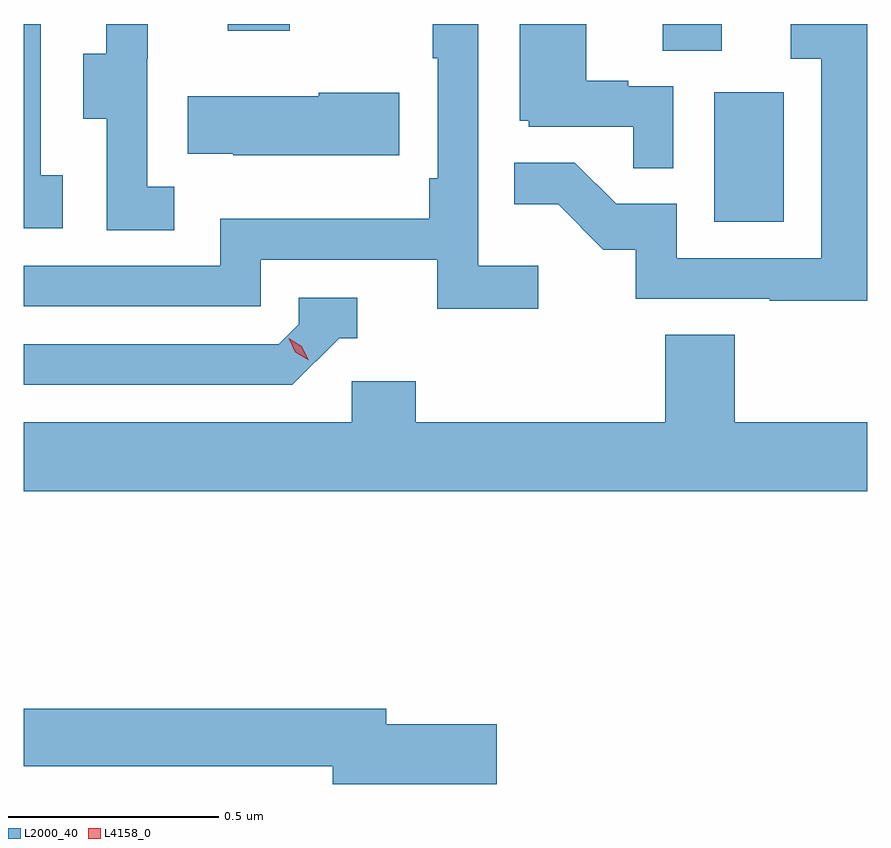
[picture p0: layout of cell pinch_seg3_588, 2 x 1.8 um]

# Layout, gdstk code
import gdstk
lib = gdstk.Library(unit=1e-6, precision=1e-09)
def R(c, l, rs):  # rectangles x0, y0, x1, y1
    for r in rs: c.add(gdstk.rectangle(r[:2], r[2:], *l))
def P(c, l, *ps):  # polygons
    for p in ps: c.add(gdstk.Polygon(p, *l))
L2000_40 = (2000, 40)
L4158_0 = (4158, 0)

pinch_seg3_588 = lib.new_cell('pinch_seg3_588')
R(pinch_seg3_588, L2000_40, [(1058.468,693.564,1058.632,693.871), (1058.345,693.97,1058.485,694.033), (1057.313,694.017,1057.461,694.033)])
P(pinch_seg3_588, L2000_40, [(1058.05,693.46),(1057.908,693.46),(1057.908,694.033),(1057.8,694.033),(1057.8,693.952),(1057.812,693.952),(1057.812,693.667),(1057.792,693.667),(1057.792,693.571),(1057.296,693.571),(1057.296,693.459),(1056.83,693.459),(1056.83,693.363),(1057.392,693.363),(1057.392,693.474),(1057.811,693.474),(1057.811,693.358),(1058.05,693.358)],
  [(1058.83,694.033),(1058.649,694.033),(1058.649,693.951),(1058.721,693.951),(1058.721,693.477),(1058.379,693.477),(1058.379,693.606),(1058.235,693.606),(1058.137,693.704),(1057.993,693.704),(1057.993,693.605),(1058.097,693.605),(1058.204,693.498),(1058.281,693.498),(1058.281,693.381),(1058.599,693.381),(1058.599,693.376),(1058.83,693.376)],
  [(1057.186,693.647),(1057.122,693.647),(1057.122,693.951),(1057.124,693.951),(1057.124,694.033),(1057.025,694.033),(1057.025,693.963),(1056.971,693.963),(1056.971,693.808),(1057.026,693.808),(1057.026,693.544),(1057.186,693.544)],
  [(1056.922,693.674),(1056.87,693.674),(1056.87,694.033),(1056.83,694.033),(1056.83,693.549),(1056.922,693.549)],
  [(1058.37,693.885),(1058.264,693.885),(1058.264,693.898),(1058.164,693.898),(1058.164,694.033),(1058.006,694.033),(1058.006,693.804),(1058.028,693.804),(1058.028,693.789),(1058.275,693.789),(1058.275,693.691),(1058.37,693.691)],
  [(1057.72,693.87),(1057.529,693.87),(1057.529,693.862),(1057.219,693.862),(1057.219,693.725),(1057.327,693.725),(1057.327,693.722),(1057.72,693.722)],
  [(1057.578,693.288),(1057.621,693.288),(1057.621,693.384),(1057.482,693.384),(1057.482,693.321),(1057.434,693.273),(1056.83,693.273),(1056.83,693.177),(1057.467,693.177)],
  [(1058.83,693.088),(1058.516,693.088),(1058.516,693.296),(1058.351,693.296),(1058.351,693.088),(1057.76,693.088),(1057.76,693.186),(1057.608,693.186),(1057.608,693.088),(1056.83,693.088),(1056.83,692.924),(1058.83,692.924)],
  [(1057.951,692.372),(1057.69,692.372),(1057.69,692.408),(1056.83,692.408),(1056.83,692.272),(1057.562,692.272),(1057.562,692.23),(1057.951,692.23)])
P(pinch_seg3_588, L4158_0, [(1057.505,693.235),(1057.474,693.254),(1057.458,693.287),(1057.458,693.287),(1057.458,693.287),(1057.489,693.268),(1057.505,693.235),(1057.505,693.235)])

lib.write_gds('pinch_seg3_588.gds')
